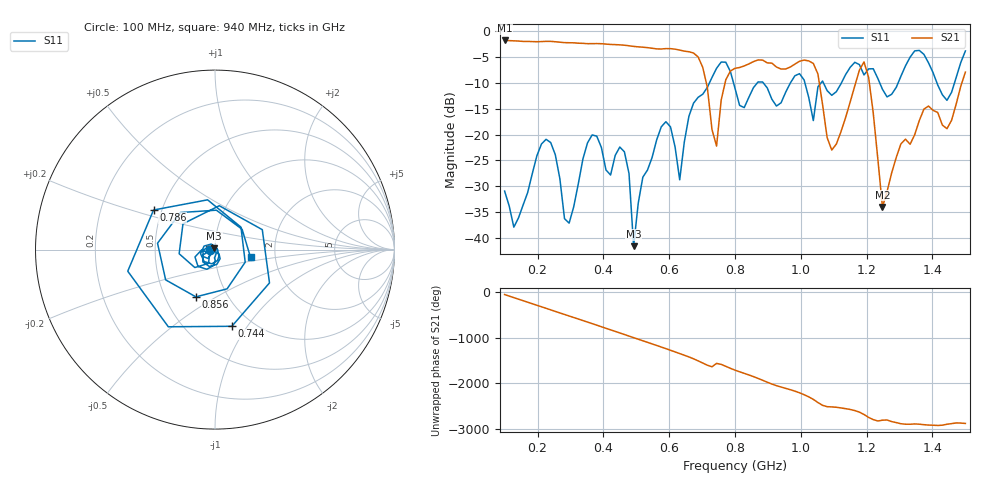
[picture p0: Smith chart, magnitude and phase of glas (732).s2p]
! NanoVNA-App
! Date: 2025-09-25 16:01:10
! Start: 100MHz Stop: 1,5GHz Points: 101
! S-Parameter data: F S11 S21 S12 S22
# Hz S RI R 50
!  Frequency  S11_Real  S11_Imag  S21_Real  S21_Imag  S12_Real  S12_Imag  S22_Real  S22_Imag
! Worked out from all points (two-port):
!   101 points, 100 MHz to 1.5 GHz, reference 50 ohm
!   highest |S21| = -1.80 dB at 100 MHz (marker M1); lowest = -34.0 dB at 1.248 GHz (marker M2)
!   |S21| within 3 dB of the highest: start of sweep to 684.4 MHz
!   lowest |S11| = -41.6 dB at 492 MHz (marker M3), VSWR 1.02, Z = 49.5 + j0.632 ohm
!   |S11| at or under -10 dB: start of sweep to 722.4 MHz; 795.5 MHz to 867.8 MHz (72.34 MHz wide, 8.7 % of centre); 886 MHz to 968.4 MHz (82.45 MHz wide, 8.89 % of centre) (the widest 3 of 7)
!   S12 and S22 are empty: the file has one direction only
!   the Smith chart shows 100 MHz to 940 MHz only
!   S11 on the Smith chart (normalised r, x): 100 MHz: 0.94, -0.01; 744 MHz: 0.81, -0.85; 786 MHz: 0.45, +0.24; 856 MHz: 0.71, -0.41; 940 MHz: 1.49, -0.14
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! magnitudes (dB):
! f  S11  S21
! 100 MHz  -30.9  -1.8
! 128 MHz  -37.9  -1.9
! 226 MHz  -20.9  -2.0
! 296 MHz  -37.1  -2.2
! 338 MHz  -24.7  -2.4
! 464 MHz  -23.3  -2.7
! 492 MHz  -41.6  -3.0
! 576 MHz  -18.5  -3.5
! 632 MHz  -28.8  -3.7
! 702 MHz  -12.2  -7.0
! 744 MHz  -7.2  -22.2
! 786 MHz  -7.8  -7.7
! 800 MHz  -11.0  -7.2
! 856 MHz  -10.9  -5.9
! 940 MHz  -13.9  -7.3
! 996 MHz  -8.2  -5.8
! 1.038 GHz  -17.3  -6.3
! 1.094 GHz  -12.4  -23.0
! 1.192 GHz  -8.5  -6.0
! 1.248 GHz  -11.2  -34.0
! 1.276 GHz  -12.2  -27.4
! 1.5 GHz  -3.8  -7.9
